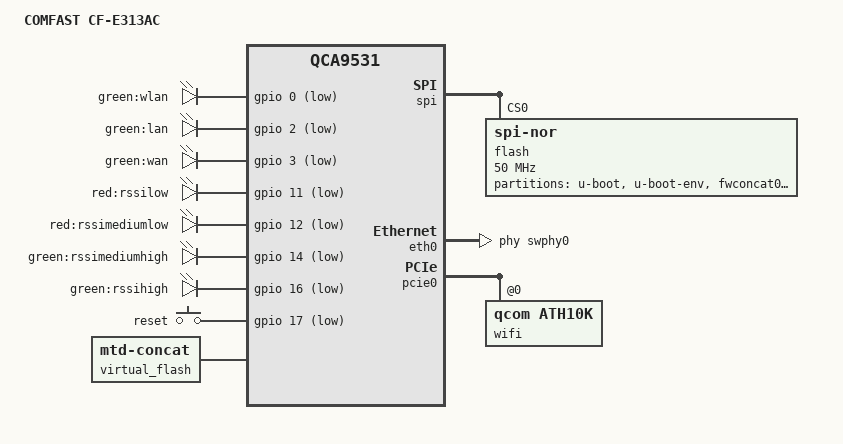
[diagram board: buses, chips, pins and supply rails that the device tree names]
// SPDX-License-Identifier: GPL-2.0-or-later OR MIT

#include "qca953x.dtsi"

#include <dt-bindings/gpio/gpio.h>
#include <dt-bindings/input/input.h>
#include <dt-bindings/mtd/partitions/uimage.h>

/ {
	compatible = "comfast,cf-e313ac", "qca,qca9531";
	model = "COMFAST CF-E313AC";

	aliases {
		serial0 = &uart;
		led-boot = &led_rssihigh;
		led-failsafe = &led_rssihigh;
		led-upgrade = &led_rssihigh;
		label-mac-device = &eth1;
	};

	leds {
		compatible = "gpio-leds";
		pinctrl-names = "default";

		wlan {
			label = "green:wlan";
			gpios = <&gpio 0 GPIO_ACTIVE_LOW>;
			linux,default-trigger = "phy0tpt";
		};

		lan {
			label = "green:lan";
			gpios = <&gpio 2 GPIO_ACTIVE_LOW>;
		};

		wan {
			label = "green:wan";
			gpios = <&gpio 3 GPIO_ACTIVE_LOW>;
		};

		rssilow {
			label = "red:rssilow";
			gpios = <&gpio 11 GPIO_ACTIVE_LOW>;
		};

		rssimediumlow {
			label = "red:rssimediumlow";
			gpios = <&gpio 12 GPIO_ACTIVE_LOW>;
		};

		rssimediumhigh {
			label = "green:rssimediumhigh";
			gpios = <&gpio 14 GPIO_ACTIVE_LOW>;
		};

		led_rssihigh: rssihigh {
			label = "green:rssihigh";
			gpios = <&gpio 16 GPIO_ACTIVE_LOW>;
		};
	};

	keys {
		compatible = "gpio-keys";

		reset {
			label = "reset";
			linux,code = <KEY_RESTART>;
			gpios = <&gpio 17 GPIO_ACTIVE_LOW>;
			debounce-interval = <60>;
		};
	};
	
	virtual_flash {
		compatible = "mtd-concat";
		devices = <&fwconcat0 &fwconcat1>;

		partitions {
			compatible = "fixed-partitions";
			#address-cells = <1>;
			#size-cells = <1>;

			partition@0 {
				reg = <0x0 0x0>;
				label = "firmware";
				compatible = "openwrt,uimage", "denx,uimage";
				openwrt,ih-magic = <IH_MAGIC_OKLI>;
			};
		};
	};
};

&pinmux {
	led_rssilow_pin: pinmux_rssilow_pin {
		pinctrl-single,bits = <0x8 0x0 0xff000000>;
	};

	led_rssimediumhigh_pin: pinmux_rssimediumhigh_pin {
		pinctrl-single,bits = <0xc 0x0 0x00ff0000>;
	};

	led_rssihigh_pin: pinmux_rssihigh_pin {
		pinctrl-single,bits = <0x10 0x0 0x000000ff>;
	};
};

&spi {
	status = "okay";

	flash@0 {
		compatible = "jedec,spi-nor";
		reg = <0>;
		spi-max-frequency = <50000000>;
		m25p,fast-read;

		partitions {
			compatible = "fixed-partitions";
			#address-cells = <1>;
			#size-cells = <1>;

			partition@0 {
				label = "u-boot";
				reg = <0x0 0x40000>;
				read-only;
			};

			partition@40000 {
				label = "u-boot-env";
				reg = <0x40000 0x10000>;
				read-only;
			};

			fwconcat0: partition@50000 {
				label = "fwconcat0";
				reg = <0x50000 0xe30000>;
			};

			partition@e80000 {
				label = "loader";
				reg = <0xe80000 0x10000>;
			};

			fwconcat1: partition@e90000 {
				label = "fwconcat1";
				reg = <0xe90000 0x160000>;
			};

			art: partition@ff0000 {
				label = "art";
				reg = <0xff0000 0x10000>;
				read-only;
			};
		};
	};
};

&eth0 {
	status = "okay";

	phy-handle = <&swphy0>;

	nvmem-cells = <&macaddr_art_1002>;
	nvmem-cell-names = "mac-address";

	gmac-config {
		device = <&gmac>;
		switch-phy-swap = <1>;
	};
};

&eth1 {
	nvmem-cells = <&macaddr_art_0>;
	nvmem-cell-names = "mac-address";
};

&pcie0 {
	status = "okay";

	wifi@0,0 {
		compatible = "qcom,ath10k";
		reg = <0 0 0 0 0>;
	};
};

&art {
	compatible = "nvmem-cells";
	#address-cells = <1>;
	#size-cells = <1>;

	macaddr_art_0: macaddr@0 {
		reg = <0x0 0x6>;
	};

	macaddr_art_1002: macaddr@1002 {
		reg = <0x1002 0x6>;
	};
};
